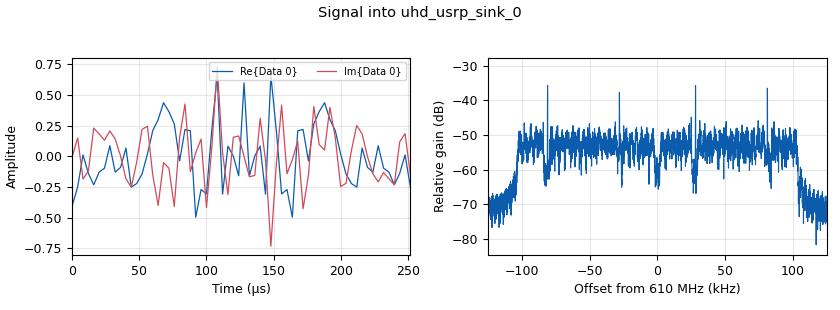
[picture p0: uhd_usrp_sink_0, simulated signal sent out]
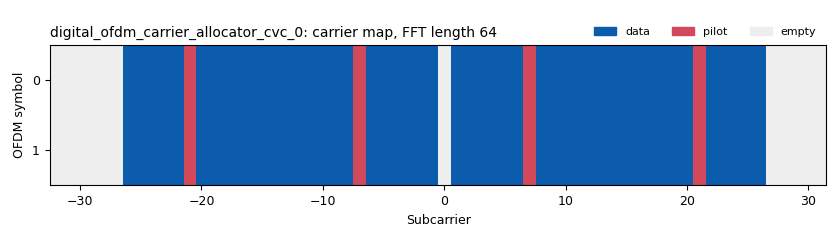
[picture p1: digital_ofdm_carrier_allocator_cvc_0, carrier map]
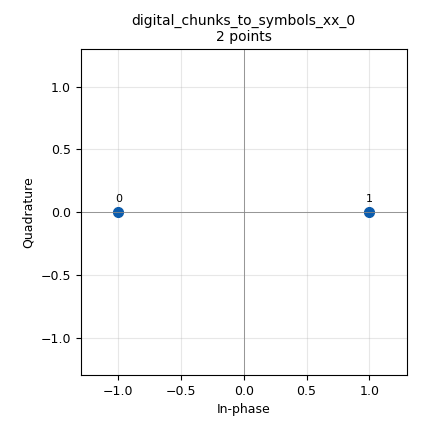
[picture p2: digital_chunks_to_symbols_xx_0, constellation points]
options:
  parameters:
    category: Custom
    description: Example of an OFDM Transmitter
    generate_options: qt_gui
    id: USRP_B210
    output_language: python
    run_options: run
    title: USRP_B210
  states: {}

blocks:
- name: fft_len
  id: variable
  parameters:
    value: '64'
  states: {}
- name: hdr_format
  id: variable
  parameters:
    value: digital.header_format_ofdm(occupied_carriers, 1, length_tag_key,)
  states: {}
- name: header_equalizer
  id: variable
  parameters:
    value: digital.ofdm_equalizer_simpledfe(fft_len, header_mod.base(), occupied_carriers, pilot_carriers, pilot_symbols)
  states: {}
- name: header_formatter
  id: variable
  parameters:
    value: digital.packet_header_ofdm(occupied_carriers, n_syms=1, len_tag_key=packet_length_tag_key, frame_len_tag_key=length_tag_key, bits_per_header_sym=header_mod.bits_per_symbol(), bits_per_payload_sym=payload_mod.bits_per_symbol(), scramble_header=False)
  states: {}
- name: header_mod
  id: variable
  parameters:
    value: digital.constellation_bpsk()
  states: {}
- name: length_tag_key
  id: variable
  parameters:
    value: '"packet_len"'
  states: {}
- name: occupied_carriers
  id: variable
  parameters:
    value: (list(range(-26, -21)) + list(range(-20, -7)) + list(range(-6, 0)) + list(range(1, 7)) + list(range(8, 21)) + list(range(22, 27)),)
  states: {}
- name: packet_len
  id: variable
  parameters:
    value: '125'
  states: {}
- name: packet_length_tag_key
  id: variable
  parameters:
    value: '"packet_len"'
  states: {}
- name: payload_equalizer
  id: variable
  parameters:
    value: digital.ofdm_equalizer_simpledfe(fft_len, payload_mod.base(), occupied_carriers, pilot_carriers, pilot_symbols, 1)
  states: {}
- name: payload_mod
  id: variable
  parameters:
    value: digital.constellation_bpsk()
  states: {}
- name: pilot_carriers
  id: variable
  parameters:
    value: ((-21, -7, 7, 21,),)
  states: {}
- name: pilot_symbols
  id: variable
  parameters:
    value: ((1, 1, 1, -1,),)
  states: {}
- name: rolloff
  id: variable
  parameters:
    value: '0'
  states: {}
- name: rx_sensing_f
  id: variable_qtgui_entry
  parameters:
    label: B210 FREQ RX SENSING
    type: int
    value: '600000000'
  states: {}
- name: rx_sensing_g
  id: variable_qtgui_entry
  parameters:
    label: B210 GAIN RX SENSING
    type: int
    value: '45'
  states: {}
- name: samp_rate
  id: variable
  parameters:
    value: '250000'
  states: {}
- name: sync_word1
  id: variable
  parameters:
    value: '[0., 0., 0., 0., 0., 0., 0., 1.41421356, 0., -1.41421356, 0., 1.41421356, 0., -1.41421356, 0., -1.41421356, 0., -1.41421356, 0., 1.41421356, 0., -1.41421356, 0., 1.41421356, 0., -1.41421356, 0., -1.41421356, 0., -1.41421356, 0., -1.41421356, 0., 1.41421356, 0., -1.41421356, 0., 1.41421356, 0., 1.41421356, 0., 1.41421356, 0., -1.41421356, 0., 1.41421356, 0., 1.41421356, 0., 1.41421356, 0., -1.41421356, 0., 1.41421356, 0., 1.41421356, 0., 1.41421356, 0., 0., 0., 0., 0., 0.]'
  states: {}
- name: sync_word2
  id: variable
  parameters:
    value: '[0, 0, 0, 0, 0, 0, -1, -1, -1, -1, 1, 1, -1, -1, -1, 1, -1, 1, 1, 1, 1, 1, -1, -1, -1, -1, -1, 1, -1, -1, 1, -1, 0, 1, -1, 1, 1, 1, -1, 1, 1, 1, -1, 1, 1, 1, 1, -1, 1, -1, -1, -1, 1, -1, 1, -1, -1, -1, -1, 0, 0, 0, 0, 0] '
  states: {}
- name: tx_b210_f
  id: variable_qtgui_entry
  parameters:
    label: B210 FREQ TX SU
    type: int
    value: '610000000'
  states: {}
- name: tx_b210_g
  id: variable_qtgui_entry
  parameters:
    label: B210 GAIN TX SU
    type: int
    value: '45'
  states: {}
- name: blocks_complex_to_mag_0
  id: blocks_complex_to_mag
  parameters: {}
  states: {}
- name: blocks_complex_to_mag_1
  id: blocks_complex_to_mag
  parameters: {}
  states: {}
- name: blocks_message_debug_0
  id: blocks_message_debug
  parameters: {}
  states: {state: disabled}
- name: blocks_message_strobe_0
  id: blocks_message_strobe
  parameters:
    msg: pmt.intern("TEST")
    period: '3'
  states: {}
- name: blocks_multiply_const_vxx_0
  id: blocks_multiply_const_vxx
  parameters:
    const: '50e-3'
    type: complex
  states: {}
- name: blocks_multiply_const_vxx_0_0
  id: blocks_multiply_const_vxx
  parameters:
    const: '500'
    type: complex
  states: {}
- name: blocks_pdu_to_tagged_stream_0
  id: blocks_pdu_to_tagged_stream
  parameters:
    tag: packet_len
    type: byte
  states: {}
- name: blocks_pdu_to_tagged_stream_0_0
  id: blocks_pdu_to_tagged_stream
  parameters:
    tag: packet_len
    type: byte
  states: {}
- name: blocks_random_pdu_0
  id: blocks_random_pdu
  parameters:
    length_modulo: '1'
    mask: '0xff'
    maxsize: '119'
    minsize: '119'
  states: {}
- name: blocks_repack_bits_bb_0
  id: blocks_repack_bits_bb
  parameters:
    endianness: gr.GR_LSB_FIRST
    k: '8'
    l: payload_mod.bits_per_symbol()
    len_tag_key: length_tag_key
  states: {}
- name: blocks_repack_bits_bb_0_0
  id: blocks_repack_bits_bb
  parameters:
    endianness: gr.GR_LSB_FIRST
    k: '8'
    l: '1'
    len_tag_key: length_tag_key
  states: {}
- name: blocks_stream_to_vector_0
  id: blocks_stream_to_vector
  parameters:
    num_items: fft_len
    type: float
  states: {}
- name: blocks_tag_gate_0
  id: blocks_tag_gate
  parameters:
    propagate_tags: 'True'
    type: complex
  states: {}
- name: blocks_tagged_stream_mux_0
  id: blocks_tagged_stream_mux
  parameters:
    lengthtagname: length_tag_key
    ninputs: '2'
    type: complex
  states: {}
- name: blocks_vector_to_stream_0
  id: blocks_vector_to_stream
  parameters:
    num_items: fft_len
    type: complex
  states: {}
- name: digital_chunks_to_symbols_xx_0
  id: digital_chunks_to_symbols_xx
  parameters:
    dimension: '1'
    in_type: byte
    out_type: complex
    symbol_table: header_mod.points()
  states: {}
- name: digital_chunks_to_symbols_xx_0_0
  id: digital_chunks_to_symbols_xx
  parameters:
    dimension: '1'
    in_type: byte
    out_type: complex
    symbol_table: payload_mod.points()
  states: {}
- name: digital_ofdm_carrier_allocator_cvc_0
  id: digital_ofdm_carrier_allocator_cvc
  parameters:
    fft_len: fft_len
    len_tag_key: length_tag_key
    occupied_carriers: occupied_carriers
    output_is_shifted: 'True'
    pilot_carriers: pilot_carriers
    pilot_symbols: pilot_symbols
    sync_words: (sync_word1, sync_word2)
  states: {}
- name: digital_ofdm_cyclic_prefixer_0
  id: digital_ofdm_cyclic_prefixer
  parameters:
    cp_len: fft_len//4
    input_size: fft_len
    rolloff: rolloff
    tagname: length_tag_key
  states: {}
- name: digital_protocol_formatter_async_0
  id: digital_protocol_formatter_async
  parameters:
    format: hdr_format
  states: {}
- name: fft_vxx_0
  id: fft_vxx
  parameters:
    fft_size: fft_len
    forward: 'False'
    shift: 'True'
    type: complex
    window: ()
  states: {}
- name: fft_vxx_0_1
  id: fft_vxx
  parameters:
    fft_size: fft_len
    forward: 'True'
    shift: 'True'
    type: float
    window: window.blackmanharris(fft_len)
  states: {}
- name: header_bits
  id: virtual_sink
  parameters:
    stream_id: Header Bits B210 TX
  states: {}
- name: import_1
  id: import
  parameters:
    imports: from gnuradio.digital.utils import tagged_streams
  states: {}
- name: qtgui_freq_sink_x_0
  id: qtgui_freq_sink_x
  parameters:
    bw: samp_rate
    fc: rx_sensing_f
    fftsize: '1024'
    name: B210 RX SENSING
    type: complex
    wintype: firdes.WIN_BLACKMAN_hARRIS
  states: {}
- name: qtgui_number_sink_0
  id: qtgui_number_sink
  parameters:
    graph_type: qtgui.NUM_GRAPH_HORIZ
    type: float
  states: {}
- name: uhd_usrp_sink_0
  id: uhd_usrp_sink
  parameters:
    ant0: TX/RX
    center_freq0: tx_b210_f
    dev_addr: serial=31E344A
    dev_args: '""'
    gain0: tx_b210_g
    len_tag_name: ''
    norm_gain0: 'False'
    samp_rate: samp_rate
    sync: sync
    type: fc32
  states: {}
- name: uhd_usrp_source_0
  id: uhd_usrp_source
  parameters:
    ant0: RX2
    center_freq0: rx_sensing_f
    dc_offs_enb0: '""'
    dev_addr: serial=31E344A
    dev_args: '""'
    gain0: rx_sensing_g
    iq_imbal_enb0: '""'
    norm_gain0: 'False'
    samp_rate: samp_rate
    sync: sync
    type: fc32
  states: {}
- name: virtual_sink_0
  id: virtual_sink
  parameters:
    stream_id: Time Domain B210 TX
  states: {}
- name: virtual_sink_0_0
  id: virtual_sink
  parameters:
    stream_id: Payload Bits B210 TX
  states: {}
- name: virtual_sink_0_0_0
  id: virtual_sink
  parameters:
    stream_id: Pre-OFDM B210 TX
  states: {}
- name: virtual_sink_1_0_0_0_0
  id: virtual_sink
  parameters:
    stream_id: SENSING IN
  states: {}
- name: virtual_sink_1_0_0_0_2
  id: virtual_sink
  parameters:
    stream_id: SENSING OUT
  states: {}
- name: virtual_source_0
  id: virtual_source
  parameters:
    stream_id: Header Bits B210 TX
  states: {}
- name: virtual_source_0_0
  id: virtual_source
  parameters:
    stream_id: Payload Bits B210 TX
  states: {}
- name: virtual_source_0_0_0
  id: virtual_source
  parameters:
    stream_id: Pre-OFDM B210 TX
  states: {}
- name: virtual_source_0_0_0_0_0_1_0
  id: virtual_source
  parameters:
    stream_id: SENSING IN
  states: {}

connections:
- [blocks_complex_to_mag_0, '0', blocks_stream_to_vector_0, '0']
- [blocks_complex_to_mag_1, '0', qtgui_number_sink_0, '0']
- [blocks_complex_to_mag_1, '0', virtual_sink_1_0_0_0_2, '0']
- [blocks_message_strobe_0, strobe, blocks_random_pdu_0, generate]
- [blocks_multiply_const_vxx_0, '0', blocks_tag_gate_0, '0']
- [blocks_multiply_const_vxx_0_0, '0', blocks_complex_to_mag_0, '0']
- [blocks_pdu_to_tagged_stream_0, '0', blocks_repack_bits_bb_0, '0']
- [blocks_pdu_to_tagged_stream_0_0, '0', blocks_repack_bits_bb_0_0, '0']
- [blocks_random_pdu_0, pdus, blocks_message_debug_0, print_pdu]
- [blocks_random_pdu_0, pdus, digital_protocol_formatter_async_0, in]
- [blocks_repack_bits_bb_0, '0', virtual_sink_0_0, '0']
- [blocks_repack_bits_bb_0_0, '0', header_bits, '0']
- [blocks_stream_to_vector_0, '0', fft_vxx_0_1, '0']
- [blocks_tag_gate_0, '0', uhd_usrp_sink_0, '0']
- [blocks_tag_gate_0, '0', virtual_sink_0, '0']
- [blocks_tagged_stream_mux_0, '0', virtual_sink_0_0_0, '0']
- [blocks_vector_to_stream_0, '0', blocks_complex_to_mag_1, '0']
- [digital_chunks_to_symbols_xx_0, '0', blocks_tagged_stream_mux_0, '0']
- [digital_chunks_to_symbols_xx_0_0, '0', blocks_tagged_stream_mux_0, '1']
- [digital_ofdm_carrier_allocator_cvc_0, '0', fft_vxx_0, '0']
- [digital_ofdm_cyclic_prefixer_0, '0', blocks_multiply_const_vxx_0, '0']
- [digital_protocol_formatter_async_0, header, blocks_pdu_to_tagged_stream_0_0, pdus]
- [digital_protocol_formatter_async_0, payload, blocks_pdu_to_tagged_stream_0, pdus]
- [fft_vxx_0, '0', digital_ofdm_cyclic_prefixer_0, '0']
- [fft_vxx_0_1, '0', blocks_vector_to_stream_0, '0']
- [uhd_usrp_source_0, '0', qtgui_freq_sink_x_0, '0']
- [uhd_usrp_source_0, '0', virtual_sink_1_0_0_0_0, '0']
- [virtual_source_0, '0', digital_chunks_to_symbols_xx_0, '0']
- [virtual_source_0_0, '0', digital_chunks_to_symbols_xx_0_0, '0']
- [virtual_source_0_0_0, '0', digital_ofdm_carrier_allocator_cvc_0, '0']
- [virtual_source_0_0_0_0_0_1_0, '0', blocks_multiply_const_vxx_0_0, '0']

metadata:
  file_format: 1
